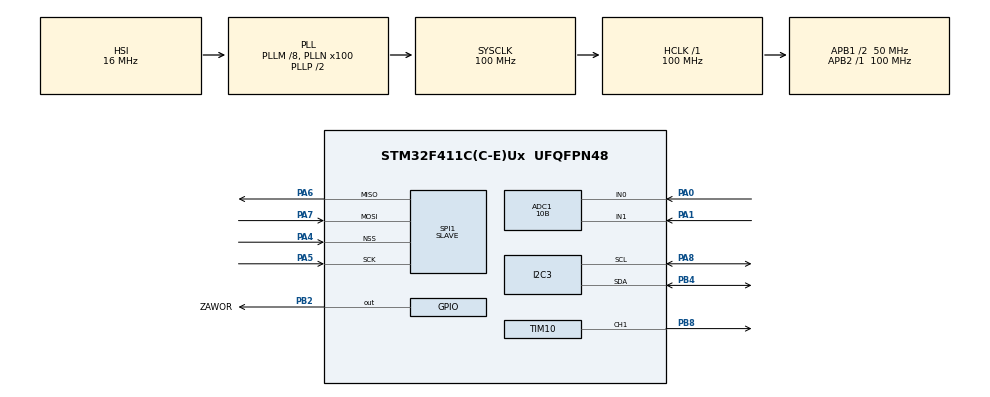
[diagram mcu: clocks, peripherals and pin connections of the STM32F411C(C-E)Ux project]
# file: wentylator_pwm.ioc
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ADC1.Channel-2\#ChannelRegularConversion=ADC_CHANNEL_0
ADC1.Channel-3\#ChannelRegularConversion=ADC_CHANNEL_1
ADC1.ClockPrescaler=ADC_CLOCK_SYNC_PCLK_DIV8
ADC1.ContinuousConvMode=ENABLE
ADC1.DMAContinuousRequests=ENABLE
ADC1.NbrOfConversion=2
ADC1.NbrOfConversionFlag=1
ADC1.Rank-2\#ChannelRegularConversion=1
ADC1.Rank-3\#ChannelRegularConversion=2
ADC1.Resolution=ADC_RESOLUTION_10B
ADC1.SamplingTime-2\#ChannelRegularConversion=ADC_SAMPLETIME_480CYCLES
ADC1.SamplingTime-3\#ChannelRegularConversion=ADC_SAMPLETIME_480CYCLES
ADC1.master=1
Dma.ADC1.0.Direction=DMA_PERIPH_TO_MEMORY
Dma.ADC1.0.FIFOMode=DMA_FIFOMODE_DISABLE
Dma.ADC1.0.Instance=DMA2_Stream0
Dma.ADC1.0.MemDataAlignment=DMA_MDATAALIGN_HALFWORD
Dma.ADC1.0.MemInc=DMA_MINC_ENABLE
Dma.ADC1.0.Mode=DMA_CIRCULAR
Dma.ADC1.0.PeriphDataAlignment=DMA_PDATAALIGN_HALFWORD
Dma.ADC1.0.PeriphInc=DMA_PINC_DISABLE
Dma.ADC1.0.Priority=DMA_PRIORITY_LOW
Dma.Request0=ADC1
Mcu.Family=STM32F4
Mcu.Name=STM32F411C(C-E)Ux
Mcu.Package=UFQFPN48
NVIC.DMA2_Stream0_IRQn=true\:7\:0\:true\:false\:true\:false\:true\:true
NVIC.FPU_IRQn=true\:0\:0\:true\:false\:true\:true\:false\:true
NVIC.I2C3_ER_IRQn=true\:5\:0\:true\:false\:true\:true\:true\:true
NVIC.I2C3_EV_IRQn=true\:4\:0\:true\:false\:true\:true\:true\:true
NVIC.PriorityGroup=NVIC_PRIORITYGROUP_4
NVIC.SPI1_IRQn=true\:0\:0\:true\:false\:true\:true\:true\:true
NVIC.TIM1_BRK_TIM9_IRQn=true\:0\:0\:true\:false\:true\:true\:true\:true
NVIC.TIM1_TRG_COM_TIM11_IRQn=true\:0\:0\:true\:false\:true\:true\:true\:true
PA0-WKUP.Signal=ADCx_IN0
PA1.Signal=ADCx_IN1
PA4.Mode=NSS_Signal_Hard_Input
PA4.Signal=SPI1_NSS
PA5.Mode=Full_Duplex_Slave
PA5.Signal=SPI1_SCK
PA6.Mode=Full_Duplex_Slave
PA6.Signal=SPI1_MISO
PA7.Mode=Full_Duplex_Slave
PA7.Signal=SPI1_MOSI
PA8.Mode=I2C
PA8.Signal=I2C3_SCL
PB2.GPIO_Label=ZAWOR
PB2.Signal=GPIO_Output
PB4.Mode=I2C
PB4.Signal=I2C3_SDA
PB8.Signal=S_TIM10_CH1
ProjectManager.HeapSize=0x200
ProjectManager.StackSize=0x400
ProjectManager.TargetToolchain=STM32CubeIDE
RCC.48MHZClocksFreq_Value=50000000
RCC.AHBFreq_Value=100000000
RCC.APB1CLKDivider=RCC_HCLK_DIV2
RCC.APB1Freq_Value=50000000
RCC.APB1TimFreq_Value=100000000
RCC.APB2Freq_Value=100000000
RCC.APB2TimFreq_Value=100000000
RCC.CortexFreq_Value=100000000
RCC.HCLKFreq_Value=100000000
RCC.HSE_VALUE=25000000
RCC.HSI_VALUE=16000000
RCC.LSE_VALUE=32768
RCC.PLLM=8
RCC.PLLN=100
RCC.SYSCLKFreq_VALUE=100000000
RCC.SYSCLKSource=RCC_SYSCLKSOURCE_PLLCLK
RCC.VCOOutputFreq_Value=200000000
SH.ADCx_IN0.0=ADC1_IN0,IN0
SH.ADCx_IN1.0=ADC1_IN1,IN1
SH.S_TIM10_CH1.0=TIM10_CH1,PWM Generation1 CH1
SPI1.CRCCalculation=SPI_CRCCALCULATION_DISABLE
SPI1.Direction=SPI_DIRECTION_2LINES
SPI1.Mode=SPI_MODE_SLAVE
SPI1.VirtualNSS=VM_NSSHARD
SPI1.VirtualType=VM_SLAVE
TIM10.Channel=TIM_CHANNEL_1
TIM10.OCMode_PWM=TIM_OCMODE_PWM1
TIM10.Period=1000
TIM10.Prescaler=99
TIM10.Pulse=0
TIM11.Period=9
TIM11.Prescaler=9999
TIM9.Period=99
TIM9.Prescaler=9999
VP_TIM10_VS_ClockSourceINT.Mode=Enable_Timer
VP_TIM11_VS_ClockSourceINT.Mode=Enable_Timer
VP_TIM9_VS_ClockSourceINT.Mode=Internal
board=custom

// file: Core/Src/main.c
/* USER CODE BEGIN Header */
/**
 ******************************************************************************
 * @file           : main.c
 * @brief          : Main program body
 ******************************************************************************
 * @attention
 *
 * Copyright (c) 2022 STMicroelectronics.
 * All rights reserved.
 *
 * This software is licensed under terms that can be found in the LICENSE file
 * in the root directory of this software component.
 * If no LICENSE file comes with this software, it is provided AS-IS.
 *
 ******************************************************************************
 */
/* USER CODE END Header */
#include "main.h"

/* USER CODE BEGIN Includes */
#include "PID.h"
/* USER CODE END Includes */

/* USER CODE BEGIN PM */
//SCB->CCR |= 0x10;
/* USER CODE END PM */

ADC_HandleTypeDef hadc1;		//analog to digital converter
DMA_HandleTypeDef hdma_adc1;	//direct memory access

I2C_HandleTypeDef hi2c3;

SPI_HandleTypeDef hspi1;

TIM_HandleTypeDef htim9;		//timer and timer interrupt
TIM_HandleTypeDef htim10;
TIM_HandleTypeDef htim11;

/* USER CODE BEGIN PV */

volatile uint16_t adc_value[2];
float adc_voltage[2];	//czujniki tlenu i cisnienia
float cisnienie;	//wyliczone z adc
float tlen;
volatile uint8_t i2c_rx[2];
float przeplyw;
float objetosc;	//objetosc wtlaczana do płuc
float objetosc_chw;	//objętość chwilowa (jednostkowa) z czujnika przeplywu (i2c)
uint8_t spi_rx[10];	//komunikacja z raspberry pi
uint8_t spi_tx[10];
//volatile uint8_t t_wdech = 1; //[s] interwał czasowy, czas jednostkowy, [nieaktualne, nie korzystamy]
uint16_t objetosc_zad;	//wartosci zadane z aplikacji RPI
uint16_t cisnienie_zad;
uint16_t przeplyw_zad;
uint16_t czas_wdechu;
uint16_t czas_wydechu;	//przelicza sie na ilosc wdechow na minutę
uint16_t PEEP;	//minimalne cisnienie pluc
pid_t pid1;	//proportional integral differential, wygładzanie sterowania turbiną, potem zmienione na PI
//int pid_pwm;
int pwm = 200;
int cis_sredni;	//cisnienie srednie, całka z pola pod wykresem cisnienia
float cisnienie_u;	//wartosci unormowane (po kalibracji)
float przeplyw_u;
uint8_t blad;	//obsluga alarmów, autodianostyka, przekazywane do rpi

//int e;	//do sprawdzenia, nie uzywamy
int przeplyw_sredni;
uint8_t faza;	//wdech, wydech

/* USER CODE END PV */

void SystemClock_Config(void);
static void MX_GPIO_Init(void);
static void MX_DMA_Init(void);
static void MX_TIM10_Init(void);
static void MX_SPI1_Init(void);
static void MX_I2C3_Init(void);
static void MX_ADC1_Init(void);
static void MX_TIM11_Init(void);
static void MX_TIM9_Init(void);

/* USER CODE BEGIN 0 */

int check(int j, int wd_ch, int wy_ch) {
	static int b, z;
	if (j == 1) {
		b = 0;
		z = 0;
	} else if (j < wd_ch) {
		if (40 < cisnienie) {
			z++;
		}
	}

	else if (j > wd_ch && j < wd_ch + wy_ch) {

		if ((0.5 * przeplyw_sredni) < przeplyw) {
			b++;

		}
	} else if (j == wd_ch + wy_ch) {
		if (z > (0.1 * wd_ch)) {
			return 2;
		}
		if (b > ((wd_ch + wy_ch) * 0.1)) {
			if (z > (0.1 * wd_ch)) {
				return 2;
			} else {
				return 1;
			}

		} else
			return 0;
	}
	return 0;
}

void tryb_objetosc(int obj, int c_wdechu, int c_wydechu, int peep) {
	static uint16_t t;
	static int went;

	t++;

	uint16_t t_wd = c_wdechu / 10;
	uint16_t t_wy = c_wydechu / 10;

	if (c_wdechu == 0)
		return;
	blad = check(t, t_wd, t_wy);
	went = (obj * 1000) / (c_wdechu);

	if (t < t_wd) {
		faza = 1;
		if (pwm > 1000)
			pwm = 1000;
		if (pwm < 0)
			pwm = 0;
		__HAL_TIM_SET_COMPARE(&htim10, TIM_CHANNEL_1, (uint16_t )pwm);
		if (przeplyw_sredni > (1.05 * went)) { //&& t % 2 == 1) {

			pwm--;

		}
		if (przeplyw_sredni < (0.95 * went)) { //&& t % 2 == 1) {
			pwm++;
		}
		if (objetosc > obj) {
			HAL_GPIO_WritePin(ZAWOR_GPIO_Port, ZAWOR_Pin, 0);

		} else {
			HAL_GPIO_WritePin(ZAWOR_GPIO_Port, ZAWOR_Pin, 1);
			if (t > 10) {
				przeplyw_sredni *= 19;
				przeplyw_sredni += (int) przeplyw;
				przeplyw_sredni /= 20;
			}
		}

//		if (cisnienie > 25) {
//			HAL_GPIO_WritePin(ZAWOR_GPIO_Port, ZAWOR_Pin, 0);
////			return;
//		}

	} else if (t == t_wd) {
		faza = 0;
		HAL_GPIO_WritePin(ZAWOR_GPIO_Port, ZAWOR_Pin, 0);

	} else if (t >= t_wd && t < (t_wd + t_wy)) {

		if (cisnienie < peep) {
			HAL_GPIO_WritePin(ZAWOR_GPIO_Port, ZAWOR_Pin, 1);

		} else
			HAL_GPIO_WritePin(ZAWOR_GPIO_Port, ZAWOR_Pin, 0);

	} else {
		t = 0;

	}

}

void tryb_cisnienie(int cis, int c_wdechu, int c_wydechu, int peep) {
	static uint16_t t;

	t++;
	uint16_t t_wd = c_wdechu / 10;
	uint16_t t_wy = c_wydechu / 10;

	if (t < t_wd) {
		faza = 1;
		if (pwm > 1000)
			pwm = 1000;
		if (pwm < 0)
			pwm = 0;
		__HAL_TIM_SET_COMPARE(&htim10, TIM_CHANNEL_1, (uint16_t )pwm);

		if (cis_sredni > cis) {
			pwm--;
			HAL_GPIO_WritePin(ZAWOR_GPIO_Port, ZAWOR_Pin, 0);

		}

		else if (cis_sredni < (0.8 * cis)) {
			pwm++;
		}
		HAL_GPIO_WritePin(ZAWOR_GPIO_Port, ZAWOR_Pin, 1);

		if (t > 20) {
			cis_sredni *= 19;
			cis_sredni += (int) cisnienie;
			cis_sredni /= 20;
		}

	} else if (t == t_wd) {
		faza = 0;
		HAL_GPIO_WritePin(ZAWOR_GPIO_Port, ZAWOR_Pin, 0);

	} else if (t >= t_wd && t < (t_wd + t_wy)) {

		HAL_GPIO_WritePin(ZAWOR_GPIO_Port, ZAWOR_Pin, 0);
		if (cisnienie < peep) {
			HAL_GPIO_WritePin(ZAWOR_GPIO_Port, ZAWOR_Pin, 1);

		}

	} else {
		t = 0;

	}

}

void HAL_ADC_ConvCpltCallback(ADC_HandleTypeDef *hadc) {		//oczytywanie danych z czujnika cisnienia
	static uint16_t adc_srednia[2] = { 0, 0 };
	uint8_t ilosc_probek[2] = { 30, 20 };

//cisnienie
	adc_srednia[0] *= (ilosc_probek[0] - 1);
	adc_srednia[0] += adc_value[0];
	adc_srednia[0] /= ilosc_probek[0];
	adc_voltage[0] = (3.3 * adc_srednia[0]) / 1024.0;		//3.3V - maksymalne napięcie czujnika, 1024 - 10 bitowy czujnik

	cisnienie = ((12.5 * adc_voltage[0]) / 3.0 * (1000.0 / 98.1)) - 13; //[cmH2O] - 3V (wzmacniacz) to 10mV i 12,5 kPa (czujnik)
	cisnienie_u *= 999;
	cisnienie_u += cisnienie;
	cisnienie_u /= 1000;
//	if (cisnienie>35){
//		HAL_GPIO_WritePin(ZAWOR_GPIO_Port, ZAWOR_Pin, 0);
//	}

//tlen
	adc_srednia[1] *= (ilosc_probek[1] - 1);
	adc_srednia[1] += adc_value[1];
	adc_srednia[1] /= ilosc_probek[1];
	adc_voltage[1] = (3.3 * adc_srednia[1]) / 1024.0;

	tlen = (21.0 * adc_voltage[1]) / 0.5; //[%] - 0.5V (wzmacniacz) to 10mV i 21% (czujnik)
}

void HAL_I2C_MasterRxCpltCallback(I2C_HandleTypeDef *hi2c) {
//	static uint16_t i = 0;
//	static float objetosc_chw = 0;
//static uint8_t stan[2] = { 0, 0 };

	uint16_t i2c_value = (i2c_rx[0] << 8) | i2c_rx[1];
	przeplyw = ((i2c_value - 32768.0) / 120.0) * (1000 / 60.0); //[ml/s]
	przeplyw_u *= 99;
	przeplyw_u += przeplyw;
	przeplyw_u /= 100;

//	stan[0] = stan[1];
//	stan[1] = faza;

	if (faza == 1) {	//faza = czy turbina pracuje czy nie
//		i++;
//		sr_przeplyw += przeplyw;

		objetosc_chw = przeplyw * 0.001;
		objetosc += objetosc_chw;
	} else
		objetosc = 0;

//	if (stan[0] > stan[1]) {
////		sr_przeplyw /= i;
////		objetosc = sr_przeplyw * t_wdech;
//		objetosc = 0;
//		//i = 0;
//	}

//		else{
//		sr_przeplyw /= i;
//		objetosc = sr_przeplyw * t_wdech;
//		sr_przeplyw = 0;
//		i=0;
//	}
}

void HAL_TIM_PeriodElapsedCallback(TIM_HandleTypeDef *htim) {
	if (htim == &htim9) {

		if (spi_rx[1] == 1) {
			tryb_objetosc(objetosc_zad, czas_wdechu, czas_wydechu, PEEP);
		} else if (spi_rx[1] == 2) {
			tryb_cisnienie(cisnienie_zad, czas_wdechu, czas_wydechu, PEEP);
		} else if (spi_rx[1] == 0) {
			__HAL_TIM_SET_COMPARE(&htim10, TIM_CHANNEL_1, 0);
		}

	} else if (htim == &htim11) {
		HAL_I2C_Master_Receive_IT(&hi2c3, (64 << 1), (uint8_t*) i2c_rx, 2);

	}

}

void HAL_SPI_TxRxCpltCallback(SPI_HandleTypeDef *hspi) {
	spi_tx[0] = 1;
	spi_tx[1] = ((uint16_t) objetosc) >> 8;
	spi_tx[2] = (uint16_t) objetosc & 0xFF;
	spi_tx[3] = (uint8_t) cisnienie_u;
	spi_tx[4] = (uint8_t) tlen;
	spi_tx[5] = ((uint16_t) przeplyw_u) >> 8;
	spi_tx[6] = (uint16_t) przeplyw_u & 0xFF;
	spi_tx[7] = spi_rx[0] + spi_rx[9];
	spi_tx[8] = blad;
	spi_tx[9] = 2;

	if (spi_rx[0] == 1 && spi_rx[9] == 2) {
		if (spi_rx[1] == 1) {
			objetosc_zad = spi_rx[2] << 8 | spi_rx[3];
		} else if (spi_rx[1] == 2) {
			cisnienie_zad = spi_rx[2] << 8 | spi_rx[3];
		}
		czas_wdechu = (int) (spi_rx[4] << 8 | spi_rx[5]);
		czas_wydechu = (int) (spi_rx[6] << 8 | spi_rx[7]);
		PEEP = (int) spi_rx[8];
	}

//	pid_d = ((float) spi_rx[5]) / 100;
//
//	pid_init(&pid1, pid_p, pid_i, pid_d, 1000);

	HAL_SPI_TransmitReceive_IT(&hspi1, (uint8_t*) spi_tx, (uint8_t*) spi_rx,
			10);
}

/* USER CODE END 0 */

int main(void) {

	/* MCU Configuration--------------------------------------------------------*/

	/* Reset of all peripherals, Initializes the Flash interface and the Systick. */
	HAL_Init();

	/* Configure the system clock */
	SystemClock_Config();

	/* Initialize all configured peripherals */
	MX_GPIO_Init();
	MX_DMA_Init();
	MX_TIM10_Init();
	MX_SPI1_Init();
	MX_I2C3_Init();
	MX_ADC1_Init();
	MX_TIM11_Init();
	MX_TIM9_Init();

	/* Infinite loop */
	/* USER CODE BEGIN WHILE */

	HAL_SPI_TransmitReceive_IT(&hspi1, (uint8_t*) spi_tx, (uint8_t*) spi_rx,
			10);

	uint8_t i2c_tx[2];
	i2c_tx[0] = 0x10;
	i2c_tx[1] = 0x00;
	HAL_I2C_Master_Transmit(&hi2c3, (64 << 1), i2c_tx, 2, HAL_MAX_DELAY);
	HAL_I2C_Master_Receive_IT(&hi2c3, (64 << 1), (uint8_t*) i2c_rx, 2);
	HAL_ADC_Start_DMA(&hadc1, (uint32_t*) adc_value, 2);
	HAL_TIM_PWM_Start(&htim10, TIM_CHANNEL_1);
	HAL_TIM_Base_Start_IT(&htim11);
	HAL_TIM_Base_Start_IT(&htim9);

	while (1) {
		/* USER CODE END WHILE */

	}
}

void SystemClock_Config(void) {
	RCC_OscInitTypeDef RCC_OscInitStruct = { 0 };
	RCC_ClkInitTypeDef RCC_ClkInitStruct = { 0 };

	/** Configure the main internal regulator output voltage
	 */
	__HAL_RCC_PWR_CLK_ENABLE();
	__HAL_PWR_VOLTAGESCALING_CONFIG(PWR_REGULATOR_VOLTAGE_SCALE1);

	/** Initializes the RCC Oscillators according to the specified parameters
	 * in the RCC_OscInitTypeDef structure.
	 */
	RCC_OscInitStruct.OscillatorType = RCC_OSCILLATORTYPE_HSI;
	RCC_OscInitStruct.HSIState = RCC_HSI_ON;
	RCC_OscInitStruct.HSICalibrationValue = RCC_HSICALIBRATION_DEFAULT;
	RCC_OscInitStruct.PLL.PLLState = RCC_PLL_ON;
	RCC_OscInitStruct.PLL.PLLSource = RCC_PLLSOURCE_HSI;
	RCC_OscInitStruct.PLL.PLLM = 8;
	RCC_OscInitStruct.PLL.PLLN = 100;
	RCC_OscInitStruct.PLL.PLLP = RCC_PLLP_DIV2;
	RCC_OscInitStruct.PLL.PLLQ = 4;
	if (HAL_RCC_OscConfig(&RCC_OscInitStruct) != HAL_OK) {
		Error_Handler();
	}

	/** Initializes the CPU, AHB and APB buses clocks
	 */
	RCC_ClkInitStruct.ClockType = RCC_CLOCKTYPE_HCLK | RCC_CLOCKTYPE_SYSCLK
			| RCC_CLOCKTYPE_PCLK1 | RCC_CLOCKTYPE_PCLK2;
	RCC_ClkInitStruct.SYSCLKSource = RCC_SYSCLKSOURCE_PLLCLK;
	RCC_ClkInitStruct.AHBCLKDivider = RCC_SYSCLK_DIV1;
	RCC_ClkInitStruct.APB1CLKDivider = RCC_HCLK_DIV2;
	RCC_ClkInitStruct.APB2CLKDivider = RCC_HCLK_DIV1;

	if (HAL_RCC_ClockConfig(&RCC_ClkInitStruct, FLASH_LATENCY_3) != HAL_OK) {
		Error_Handler();
	}
}

static void MX_ADC1_Init(void) {

	ADC_ChannelConfTypeDef sConfig = { 0 };

	/** Configure the global features of the ADC (Clock, Resolution, Data Alignment and number of conversion)
	 */
	hadc1.Instance = ADC1;
	hadc1.Init.ClockPrescaler = ADC_CLOCK_SYNC_PCLK_DIV8;
	hadc1.Init.Resolution = ADC_RESOLUTION_10B;
	hadc1.Init.ScanConvMode = ENABLE;
	hadc1.Init.ContinuousConvMode = ENABLE;
	hadc1.Init.DiscontinuousConvMode = DISABLE;
	hadc1.Init.ExternalTrigConvEdge = ADC_EXTERNALTRIGCONVEDGE_NONE;
	hadc1.Init.ExternalTrigConv = ADC_SOFTWARE_START;
	hadc1.Init.DataAlign = ADC_DATAALIGN_RIGHT;
	hadc1.Init.NbrOfConversion = 2;
	hadc1.Init.DMAContinuousRequests = ENABLE;
	hadc1.Init.EOCSelection = ADC_EOC_SINGLE_CONV;
	if (HAL_ADC_Init(&hadc1) != HAL_OK) {
		Error_Handler();
	}

	/** Configure for the selected ADC regular channel its corresponding rank in the sequencer and its sample time.
	 */
	sConfig.Channel = ADC_CHANNEL_0;
	sConfig.Rank = 1;
	sConfig.SamplingTime = ADC_SAMPLETIME_480CYCLES;
	if (HAL_ADC_ConfigChannel(&hadc1, &sConfig) != HAL_OK) {
		Error_Handler();
	}

	/** Configure for the selected ADC regular channel its corresponding rank in the sequencer and its sample time.
	 */
	sConfig.Channel = ADC_CHANNEL_1;
	sConfig.Rank = 2;
	if (HAL_ADC_ConfigChannel(&hadc1, &sConfig) != HAL_OK) {
		Error_Handler();
	}

}

static void MX_I2C3_Init(void) {

	hi2c3.Instance = I2C3;
	hi2c3.Init.ClockSpeed = 100000;
	hi2c3.Init.DutyCycle = I2C_DUTYCYCLE_2;
	hi2c3.Init.OwnAddress1 = 0;
	hi2c3.Init.AddressingMode = I2C_ADDRESSINGMODE_7BIT;
	hi2c3.Init.DualAddressMode = I2C_DUALADDRESS_DISABLE;
	hi2c3.Init.OwnAddress2 = 0;
	hi2c3.Init.GeneralCallMode = I2C_GENERALCALL_DISABLE;
	hi2c3.Init.NoStretchMode = I2C_NOSTRETCH_DISABLE;
	if (HAL_I2C_Init(&hi2c3) != HAL_OK) {
		Error_Handler();
	}

}

static void MX_SPI1_Init(void) {

	/* SPI1 parameter configuration*/
	hspi1.Instance = SPI1;
	hspi1.Init.Mode = SPI_MODE_SLAVE;
	hspi1.Init.Direction = SPI_DIRECTION_2LINES;
	hspi1.Init.DataSize = SPI_DATASIZE_8BIT;
	hspi1.Init.CLKPolarity = SPI_POLARITY_LOW;
	hspi1.Init.CLKPhase = SPI_PHASE_1EDGE;
	hspi1.Init.NSS = SPI_NSS_HARD_INPUT;
	hspi1.Init.FirstBit = SPI_FIRSTBIT_MSB;
	hspi1.Init.TIMode = SPI_TIMODE_DISABLE;
	hspi1.Init.CRCCalculation = SPI_CRCCALCULATION_DISABLE;
	hspi1.Init.CRCPolynomial = 10;
	if (HAL_SPI_Init(&hspi1) != HAL_OK) {
		Error_Handler();
	}

}

static void MX_TIM9_Init(void) {

	TIM_ClockConfigTypeDef sClockSourceConfig = { 0 };

	htim9.Instance = TIM9;
	htim9.Init.Prescaler = 9999;
	htim9.Init.CounterMode = TIM_COUNTERMODE_UP;
	htim9.Init.Period = 99;
	htim9.Init.ClockDivision = TIM_CLOCKDIVISION_DIV1;
	htim9.Init.AutoReloadPreload = TIM_AUTORELOAD_PRELOAD_DISABLE;
	if (HAL_TIM_Base_Init(&htim9) != HAL_OK) {
		Error_Handler();
	}
	sClockSourceConfig.ClockSource = TIM_CLOCKSOURCE_INTERNAL;
	if (HAL_TIM_ConfigClockSource(&htim9, &sClockSourceConfig) != HAL_OK) {
		Error_Handler();
	}

}

static void MX_TIM10_Init(void) {

	TIM_OC_InitTypeDef sConfigOC = { 0 };

	htim10.Instance = TIM10;
	htim10.Init.Prescaler = 99;
	htim10.Init.CounterMode = TIM_COUNTERMODE_UP;
	htim10.Init.Period = 1000;
	htim10.Init.ClockDivision = TIM_CLOCKDIVISION_DIV1;
	htim10.Init.AutoReloadPreload = TIM_AUTORELOAD_PRELOAD_DISABLE;
	if (HAL_TIM_Base_Init(&htim10) != HAL_OK) {
		Error_Handler();
	}
	if (HAL_TIM_PWM_Init(&htim10) != HAL_OK) {
		Error_Handler();
	}
	sConfigOC.OCMode = TIM_OCMODE_PWM1;
	sConfigOC.Pulse = 0;
	sConfigOC.OCPolarity = TIM_OCPOLARITY_HIGH;
	sConfigOC.OCFastMode = TIM_OCFAST_DISABLE;
	if (HAL_TIM_PWM_ConfigChannel(&htim10, &sConfigOC, TIM_CHANNEL_1)
			!= HAL_OK) {
		Error_Handler();
	}
	HAL_TIM_MspPostInit(&htim10);

}

static void MX_TIM11_Init(void) {

	htim11.Instance = TIM11;
	htim11.Init.Prescaler = 9999;
	htim11.Init.CounterMode = TIM_COUNTERMODE_UP;
	htim11.Init.Period = 9;
	htim11.Init.ClockDivision = TIM_CLOCKDIVISION_DIV1;
	htim11.Init.AutoReloadPreload = TIM_AUTORELOAD_PRELOAD_DISABLE;
	if (HAL_TIM_Base_Init(&htim11) != HAL_OK) {
		Error_Handler();
	}

}

static void MX_DMA_Init(void) {

	/* DMA controller clock enable */
	__HAL_RCC_DMA2_CLK_ENABLE();

	/* DMA interrupt init */
	/* DMA2_Stream0_IRQn interrupt configuration */
	HAL_NVIC_SetPriority(DMA2_Stream0_IRQn, 7, 0);
	HAL_NVIC_EnableIRQ(DMA2_Stream0_IRQn);

}

static void MX_GPIO_Init(void) {
	GPIO_InitTypeDef GPIO_InitStruct = { 0 };

	/* GPIO Ports Clock Enable */
	__HAL_RCC_GPIOA_CLK_ENABLE();
	__HAL_RCC_GPIOB_CLK_ENABLE();

	/*Configure GPIO pin Output Level */
	HAL_GPIO_WritePin(ZAWOR_GPIO_Port, ZAWOR_Pin, GPIO_PIN_RESET);

	/*Configure GPIO pin : ZAWOR_Pin */
	GPIO_InitStruct.Pin = ZAWOR_Pin;
	GPIO_InitStruct.Mode = GPIO_MODE_OUTPUT_PP;
	GPIO_InitStruct.Pull = GPIO_NOPULL;
	GPIO_InitStruct.Speed = GPIO_SPEED_FREQ_LOW;
	HAL_GPIO_Init(ZAWOR_GPIO_Port, &GPIO_InitStruct);

}

void Error_Handler(void) {
	__disable_irq();
	while (1) {
	}
}
